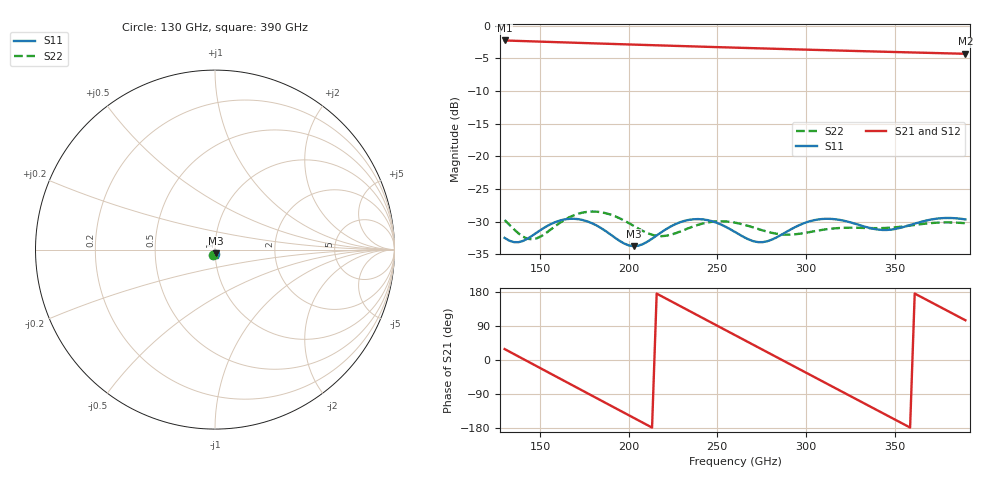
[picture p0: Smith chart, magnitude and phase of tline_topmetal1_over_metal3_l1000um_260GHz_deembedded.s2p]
! Created with skrf 2.2.0 (http://scikit-rf.org).
# GHz S DB R 50.0
! Port[1] = P1
! Port[2] = P2
!freq dBS11 angS11 dBS21 angS21 dBS12 angS12 dBS22 angS22
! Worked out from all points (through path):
!   101 points, 130 GHz to 390 GHz, reference 50 ohm
!   highest |S21| = -2.28 dB at 130 GHz (marker M1); lowest = -4.3 dB at 390 GHz (marker M2)
!   group delay of S21, straight-line fit = 6.88 ps
!   lowest |S11| = -33.8 dB at 202.8 GHz (marker M3), VSWR 1.04, Z = 50.3 - j2.04 ohm
!   |S11| at or under -10 dB: start of sweep to end of sweep
!   |S22| runs from -32.7 to -28.5 dB; largest |S21 - S12| = 7.9e-14
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130  -32.50 -83.6  -2.28 28.9  -2.28 28.9  -29.77 -106.1
140.4  -32.96 -68.6  -2.37 2.9  -2.37 2.9  -32.32 -99.5
150.8  -31.21 -63.2  -2.46 -23.1  -2.46 -23.1  -32.22 -82.7
163.8  -29.67 -72.6  -2.57 -55.5  -2.57 -55.5  -29.75 -80.3
174.2  -29.77 -83.6  -2.66 -81.4  -2.66 -81.4  -28.62 -89.3
187.2  -31.49 -92.5  -2.78 -113.8  -2.78 -113.8  -28.73 -102.9
202.8  -33.77 -80.8  -2.91 -152.5  -2.91 -152.5  -30.65 -111.7
218.4  -31.64 -68.1  -3.04 168.7  -3.04 168.7  -32.24 -102.6
239.2  -29.62 -83.3  -3.21 117.2  -3.21 117.2  -30.50 -96.5
249.6  -30.18 -92.5  -3.29 91.4  -3.29 91.4  -29.97 -101.8
260  -31.59 -96.4  -3.38 65.7  -3.38 65.7  -30.17 -107.7
273  -33.15 -87.4  -3.48 33.5  -3.48 33.5  -31.13 -110.9
283.4  -32.43 -76.7  -3.56 7.8  -3.56 7.8  -31.86 -108.1
293.8  -30.87 -75.2  -3.64 -17.9  -3.64 -17.9  -31.95 -103.1
304.2  -29.81 -80.6  -3.71 -43.6  -3.71 -43.6  -31.51 -100.3
314.6  -29.60 -88.0  -3.79 -69.3  -3.79 -69.3  -31.08 -100.4
325  -30.11 -93.3  -3.87 -94.9  -3.87 -94.9  -30.94 -101.4
335.4  -30.94 -93.6  -3.94 -120.6  -3.94 -120.6  -30.99 -101.5
348.4  -31.22 -87.7  -4.03 -152.6  -4.03 -152.6  -30.93 -99.6
366.6  -29.93 -85.6  -4.16 162.5  -4.16 162.5  -30.34 -98.6
379.6  -29.45 -90.8  -4.25 130.5  -4.25 130.5  -30.13 -100.3
390  -29.67 -94.6  -4.32 104.9  -4.32 104.9  -30.25 -101.0
